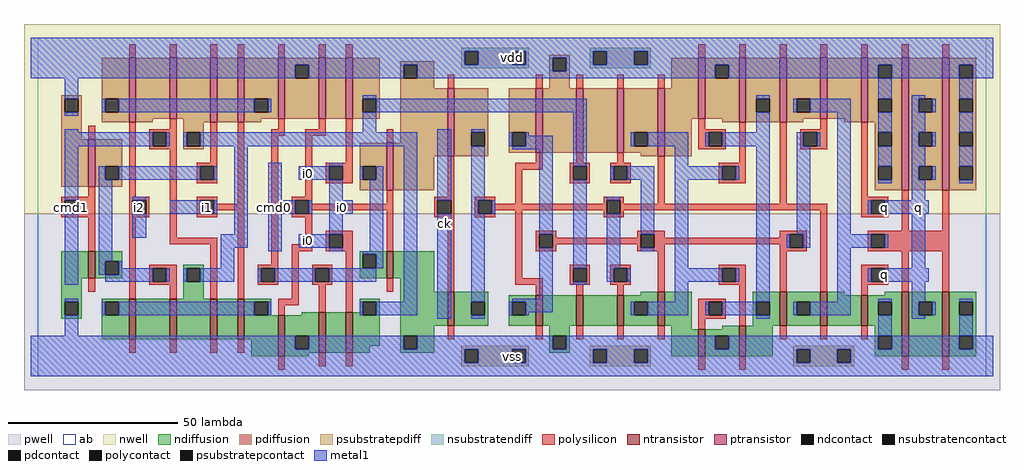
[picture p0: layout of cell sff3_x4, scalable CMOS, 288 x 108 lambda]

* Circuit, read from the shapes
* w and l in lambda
.subckt sff3_x4 ck cmd0 cmd1 i0 i1 i2 q vdd vss
M1 n1 cmd1 vss vss nfet w=8 l=2
M2 n2 i2 n3 vss nfet w=12 l=2
M3 n4 n1 n2 vss nfet w=12 l=2
M4 n5 cmd1 n4 vss nfet w=12 l=2
M5 n3 i1 n5 vss nfet w=12 l=2
M6 vss cmd0 n3 vss nfet w=12 l=2
M7 n6 n7 vss vss nfet w=12 l=2
M8 n4 i0 n6 vss nfet w=12 l=2
M9 vss cmd0 n7 vss nfet w=8 l=2
M10 n8 ck vss vss nfet w=10 l=2
M11 vss n8 n9 vss nfet w=9 l=2
M12 n10 n4 vss vss nfet w=9 l=2
M13 n11 n8 n10 vss nfet w=9 l=2
M14 n12 n9 n11 vss nfet w=10 l=2
M15 vss n13 n12 vss nfet w=8 l=2
M16 n13 n11 vss vss nfet w=9 l=2
M17 n14 n9 n13 vss nfet w=10 l=2
M18 n15 n8 n14 vss nfet w=10 l=2
M19 vss q n15 vss nfet w=9 l=2
M20 q n14 vss vss nfet w=19 l=2 m=2
M21 n1 cmd1 vdd vdd pfet w=14 l=2
M22 n16 i2 n17 vdd pfet w=19 l=2
M23 n4 cmd1 n16 vdd pfet w=18 l=2
M24 n18 n1 n4 vdd pfet w=19 l=2
M25 n17 i1 n18 vdd pfet w=19 l=2
M26 vdd n7 n17 vdd pfet w=18 l=2
M27 n19 cmd0 vdd vdd pfet w=18 l=2
M28 n4 i0 n19 vdd pfet w=18 l=2
M29 vdd cmd0 n7 vdd pfet w=14 l=2
M30 n8 ck vdd vdd pfet w=20 l=2
M31 vdd n8 n9 vdd pfet w=19 l=2
M32 n20 n4 vdd vdd pfet w=19 l=2
M33 n11 n9 n20 vdd pfet w=19 l=2
M34 n21 n8 n11 vdd pfet w=20 l=2
M35 vdd n13 n21 vdd pfet w=18 l=2
M36 n13 n11 vdd vdd pfet w=19 l=2
M37 n14 n8 n13 vdd pfet w=19 l=2
M38 n22 n9 n14 vdd pfet w=18 l=2
M39 vdd q n22 vdd pfet w=19 l=2
M40 q n14 vdd vdd pfet w=39 l=2 m=2
.ends

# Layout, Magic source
magic
tech scmos
<< ab >>
rect 0 0 280 100
<< pwell >>
rect -4 -4 284 48
<< nwell >>
rect -4 48 284 104
<< polysilicon >>
rect 27 94 29 98
rect 39 94 41 98
rect 51 94 53 98
rect 59 94 61 98
rect 71 94 73 98
rect 83 94 85 98
rect 91 94 93 98
rect 15 70 17 74
rect 15 53 17 56
rect 7 52 17 53
rect 7 48 8 52
rect 12 48 17 52
rect 7 47 17 48
rect 15 37 17 47
rect 27 53 29 75
rect 39 73 41 76
rect 33 72 41 73
rect 33 68 34 72
rect 38 68 41 72
rect 33 67 41 68
rect 195 94 197 98
rect 207 94 209 98
rect 219 94 221 98
rect 231 94 233 98
rect 243 94 245 98
rect 255 94 257 98
rect 267 94 269 98
rect 121 85 123 89
rect 147 85 149 89
rect 159 85 161 89
rect 171 85 173 89
rect 183 85 185 89
rect 27 52 33 53
rect 27 48 28 52
rect 32 48 33 52
rect 27 47 33 48
rect 15 25 17 29
rect 27 23 29 47
rect 39 41 41 67
rect 51 63 53 75
rect 47 62 53 63
rect 47 58 48 62
rect 52 58 53 62
rect 47 57 53 58
rect 47 52 53 53
rect 47 48 48 52
rect 52 51 53 52
rect 59 51 61 75
rect 71 73 73 76
rect 83 73 85 76
rect 52 49 61 51
rect 52 48 53 49
rect 47 47 53 48
rect 39 39 53 41
rect 33 32 41 33
rect 33 28 34 32
rect 38 28 41 32
rect 33 27 41 28
rect 39 23 41 27
rect 51 23 53 39
rect 59 23 61 49
rect 69 71 73 73
rect 79 71 85 73
rect 69 33 71 71
rect 79 53 81 71
rect 91 63 93 76
rect 103 69 105 73
rect 85 62 93 63
rect 85 58 86 62
rect 90 58 93 62
rect 85 57 93 58
rect 75 52 81 53
rect 75 48 76 52
rect 80 51 81 52
rect 103 51 105 55
rect 121 53 123 65
rect 147 63 149 66
rect 159 63 161 66
rect 171 63 173 66
rect 195 73 197 76
rect 195 72 203 73
rect 195 68 198 72
rect 202 68 203 72
rect 195 67 203 68
rect 141 61 149 63
rect 157 62 163 63
rect 80 49 105 51
rect 80 48 81 49
rect 75 47 81 48
rect 79 39 81 47
rect 65 32 71 33
rect 65 28 66 32
rect 70 28 71 32
rect 65 27 71 28
rect 75 37 81 39
rect 85 42 93 43
rect 85 38 86 42
rect 90 38 93 42
rect 85 37 93 38
rect 103 37 105 49
rect 117 52 123 53
rect 117 48 118 52
rect 122 48 123 52
rect 117 47 123 48
rect 129 52 135 53
rect 129 48 130 52
rect 134 51 135 52
rect 141 51 143 61
rect 157 58 158 62
rect 162 58 163 62
rect 157 57 163 58
rect 169 62 175 63
rect 169 58 170 62
rect 174 58 175 62
rect 169 57 175 58
rect 167 52 173 53
rect 167 51 168 52
rect 134 49 168 51
rect 134 48 135 49
rect 129 47 135 48
rect 75 23 77 37
rect 81 32 87 33
rect 81 28 82 32
rect 86 28 87 32
rect 81 27 87 28
rect 71 21 77 23
rect 71 18 73 21
rect 83 19 85 27
rect 91 19 93 37
rect 103 25 105 29
rect 121 25 123 47
rect 141 29 143 49
rect 167 48 168 49
rect 172 51 173 52
rect 183 51 185 65
rect 207 63 209 75
rect 201 62 209 63
rect 201 58 202 62
rect 206 58 209 62
rect 201 57 209 58
rect 219 51 221 75
rect 231 73 233 76
rect 225 72 233 73
rect 225 68 226 72
rect 230 68 233 72
rect 225 67 233 68
rect 243 53 245 75
rect 243 52 251 53
rect 172 49 233 51
rect 172 48 173 49
rect 167 47 173 48
rect 147 42 153 43
rect 147 38 148 42
rect 152 41 153 42
rect 177 42 185 43
rect 177 41 178 42
rect 152 39 178 41
rect 152 38 153 39
rect 147 37 153 38
rect 177 38 178 39
rect 182 41 185 42
rect 219 42 227 43
rect 219 41 222 42
rect 182 39 222 41
rect 182 38 185 39
rect 177 37 185 38
rect 157 32 163 33
rect 141 27 149 29
rect 157 28 158 32
rect 162 28 163 32
rect 157 27 163 28
rect 169 32 175 33
rect 169 28 170 32
rect 174 28 175 32
rect 169 27 175 28
rect 27 7 29 11
rect 39 7 41 11
rect 51 7 53 11
rect 59 7 61 11
rect 147 24 149 27
rect 159 24 161 27
rect 171 24 173 27
rect 183 25 185 37
rect 219 38 222 39
rect 226 38 227 42
rect 219 37 227 38
rect 201 32 209 33
rect 201 28 202 32
rect 206 28 209 32
rect 201 27 209 28
rect 121 11 123 15
rect 147 11 149 15
rect 71 2 73 6
rect 83 3 85 7
rect 91 3 93 7
rect 159 11 161 15
rect 171 11 173 15
rect 183 11 185 15
rect 195 22 203 23
rect 195 18 198 22
rect 202 18 203 22
rect 195 17 203 18
rect 195 14 197 17
rect 207 15 209 27
rect 219 25 221 37
rect 231 25 233 49
rect 243 48 246 52
rect 250 48 251 52
rect 243 47 251 48
rect 255 43 257 55
rect 267 43 269 55
rect 245 42 269 43
rect 245 38 246 42
rect 250 38 269 42
rect 245 37 269 38
rect 243 32 251 33
rect 243 28 246 32
rect 250 28 251 32
rect 243 27 251 28
rect 243 24 245 27
rect 255 25 257 37
rect 267 25 269 37
rect 219 11 221 15
rect 231 11 233 15
rect 243 11 245 15
rect 195 2 197 6
rect 207 2 209 6
rect 255 2 257 6
rect 267 2 269 6
<< ndiffusion >>
rect 7 29 15 37
rect 17 34 25 37
rect 17 30 20 34
rect 24 30 25 34
rect 17 29 25 30
rect 7 22 13 29
rect 43 32 49 33
rect 43 28 44 32
rect 48 28 49 32
rect 43 23 49 28
rect 7 18 8 22
rect 12 18 13 22
rect 7 17 13 18
rect 19 22 27 23
rect 19 18 20 22
rect 24 18 27 22
rect 19 11 27 18
rect 29 11 39 23
rect 41 11 51 23
rect 53 11 59 23
rect 61 22 69 23
rect 61 18 64 22
rect 68 18 69 22
rect 95 36 103 37
rect 95 32 96 36
rect 100 32 103 36
rect 95 29 103 32
rect 105 29 117 37
rect 107 25 117 29
rect 95 22 101 23
rect 95 19 96 22
rect 78 18 83 19
rect 61 11 71 18
rect 63 6 71 11
rect 73 12 83 18
rect 73 8 76 12
rect 80 8 83 12
rect 73 7 83 8
rect 85 7 91 19
rect 93 18 96 19
rect 100 18 101 22
rect 93 9 101 18
rect 107 15 121 25
rect 123 22 133 25
rect 178 24 183 25
rect 123 18 128 22
rect 132 18 133 22
rect 123 15 133 18
rect 139 22 147 24
rect 139 18 140 22
rect 144 18 147 22
rect 139 15 147 18
rect 149 15 159 24
rect 161 15 171 24
rect 173 22 183 24
rect 173 18 176 22
rect 180 18 183 22
rect 173 15 183 18
rect 185 15 193 25
rect 107 12 117 15
rect 93 7 98 9
rect 107 8 108 12
rect 112 8 117 12
rect 151 12 157 15
rect 107 7 117 8
rect 73 6 80 7
rect 151 8 152 12
rect 156 8 157 12
rect 187 14 193 15
rect 211 22 219 25
rect 211 18 212 22
rect 216 18 219 22
rect 211 15 219 18
rect 221 22 231 25
rect 221 18 224 22
rect 228 18 231 22
rect 221 15 231 18
rect 233 24 238 25
rect 250 24 255 25
rect 233 15 243 24
rect 245 22 255 24
rect 245 18 248 22
rect 252 18 255 22
rect 245 15 255 18
rect 202 14 207 15
rect 151 7 157 8
rect 187 6 195 14
rect 197 12 207 14
rect 197 8 200 12
rect 204 8 207 12
rect 197 6 207 8
rect 209 6 217 15
rect 247 12 255 15
rect 247 8 248 12
rect 252 8 255 12
rect 247 6 255 8
rect 257 22 267 25
rect 257 18 260 22
rect 264 18 267 22
rect 257 6 267 18
rect 269 22 277 25
rect 269 18 272 22
rect 276 18 277 22
rect 269 12 277 18
rect 269 8 272 12
rect 276 8 277 12
rect 269 6 277 8
<< pdiffusion >>
rect 7 82 13 83
rect 7 78 8 82
rect 12 78 13 82
rect 7 70 13 78
rect 19 82 27 94
rect 19 78 20 82
rect 24 78 27 82
rect 19 75 27 78
rect 29 76 39 94
rect 41 76 51 94
rect 29 75 34 76
rect 7 56 15 70
rect 17 62 25 70
rect 17 58 20 62
rect 24 58 25 62
rect 17 56 25 58
rect 43 75 51 76
rect 53 75 59 94
rect 61 82 71 94
rect 61 78 64 82
rect 68 78 71 82
rect 61 76 71 78
rect 73 92 83 94
rect 73 88 76 92
rect 80 88 83 92
rect 73 76 83 88
rect 85 76 91 94
rect 93 82 101 94
rect 93 78 96 82
rect 100 78 101 82
rect 93 76 101 78
rect 107 92 117 93
rect 107 88 108 92
rect 112 88 117 92
rect 151 94 157 95
rect 151 90 152 94
rect 156 90 157 94
rect 107 85 117 88
rect 151 85 157 90
rect 187 85 195 94
rect 61 75 66 76
rect 43 72 49 75
rect 43 68 44 72
rect 48 68 49 72
rect 43 67 49 68
rect 107 69 121 85
rect 95 62 103 69
rect 95 58 96 62
rect 100 58 103 62
rect 95 55 103 58
rect 105 65 121 69
rect 123 72 133 85
rect 123 68 128 72
rect 132 68 133 72
rect 123 65 133 68
rect 139 72 147 85
rect 139 68 140 72
rect 144 68 147 72
rect 139 66 147 68
rect 149 66 159 85
rect 161 66 171 85
rect 173 72 183 85
rect 173 68 176 72
rect 180 68 183 72
rect 173 66 183 68
rect 105 55 117 65
rect 178 65 183 66
rect 185 76 195 85
rect 197 92 207 94
rect 197 88 200 92
rect 204 88 207 92
rect 197 76 207 88
rect 185 65 193 76
rect 202 75 207 76
rect 209 82 219 94
rect 209 78 212 82
rect 216 78 219 82
rect 209 75 219 78
rect 221 82 231 94
rect 221 78 224 82
rect 228 78 231 82
rect 221 76 231 78
rect 233 76 243 94
rect 221 75 226 76
rect 238 75 243 76
rect 245 92 255 94
rect 245 88 248 92
rect 252 88 255 92
rect 245 82 255 88
rect 245 78 248 82
rect 252 78 255 82
rect 245 75 255 78
rect 247 72 255 75
rect 247 68 248 72
rect 252 68 255 72
rect 247 62 255 68
rect 247 58 248 62
rect 252 58 255 62
rect 247 55 255 58
rect 257 82 267 94
rect 257 78 260 82
rect 264 78 267 82
rect 257 72 267 78
rect 257 68 260 72
rect 264 68 267 72
rect 257 62 267 68
rect 257 58 260 62
rect 264 58 267 62
rect 257 55 267 58
rect 269 92 277 94
rect 269 88 272 92
rect 276 88 277 92
rect 269 82 277 88
rect 269 78 272 82
rect 276 78 277 82
rect 269 72 277 78
rect 269 68 272 72
rect 276 68 277 72
rect 269 62 277 68
rect 269 58 272 62
rect 276 58 277 62
rect 269 55 277 58
<< metal1 >>
rect -2 96 282 100
rect -2 92 126 96
rect 130 92 140 96
rect 144 94 164 96
rect 144 92 152 94
rect -2 88 76 92
rect 80 88 108 92
rect 112 90 152 92
rect 156 92 164 94
rect 168 92 176 96
rect 180 92 282 96
rect 156 90 200 92
rect 112 88 200 90
rect 204 88 248 92
rect 252 88 272 92
rect 276 88 282 92
rect 8 82 12 88
rect 96 82 100 83
rect 212 82 216 83
rect 248 82 252 88
rect 19 78 20 82
rect 24 78 64 82
rect 68 78 69 82
rect 100 78 162 82
rect 8 77 12 78
rect 8 72 12 73
rect 96 72 100 78
rect 8 68 34 72
rect 38 68 39 72
rect 43 68 44 72
rect 48 68 112 72
rect 8 52 12 68
rect 8 27 12 48
rect 18 58 20 62
rect 24 58 48 62
rect 52 58 53 62
rect 18 34 22 58
rect 28 52 32 53
rect 39 48 48 52
rect 52 48 53 52
rect 28 41 32 48
rect 58 42 62 68
rect 54 38 62 42
rect 68 52 72 63
rect 86 62 90 63
rect 77 58 86 62
rect 95 58 96 62
rect 100 58 102 62
rect 86 52 90 58
rect 68 48 76 52
rect 80 48 81 52
rect 86 48 93 52
rect 18 30 20 34
rect 24 32 25 34
rect 54 32 58 38
rect 68 37 72 48
rect 86 42 90 48
rect 77 38 86 42
rect 86 37 90 38
rect 98 37 102 58
rect 96 36 102 37
rect 100 32 102 36
rect 24 30 34 32
rect 20 28 34 30
rect 38 28 39 32
rect 43 28 44 32
rect 48 28 58 32
rect 65 28 66 32
rect 70 28 82 32
rect 86 28 100 32
rect 8 22 12 23
rect 108 22 112 68
rect 19 18 20 22
rect 24 18 64 22
rect 68 18 69 22
rect 95 18 96 22
rect 100 18 112 22
rect 118 52 122 73
rect 8 12 12 18
rect 118 17 122 48
rect 128 72 132 73
rect 139 68 140 72
rect 144 71 145 72
rect 144 68 152 71
rect 128 52 132 68
rect 140 67 152 68
rect 128 48 130 52
rect 134 48 135 52
rect 128 22 132 48
rect 148 42 152 67
rect 148 23 152 38
rect 158 62 162 78
rect 223 78 224 82
rect 228 78 240 82
rect 212 72 216 78
rect 175 68 176 72
rect 180 68 192 72
rect 197 68 198 72
rect 202 68 216 72
rect 188 62 192 68
rect 169 58 170 62
rect 174 58 182 62
rect 158 32 162 58
rect 168 52 172 53
rect 168 32 172 48
rect 178 42 182 58
rect 178 37 182 38
rect 188 58 202 62
rect 206 58 207 62
rect 188 32 192 58
rect 168 28 170 32
rect 174 28 175 32
rect 188 28 202 32
rect 206 28 207 32
rect 158 27 162 28
rect 140 22 152 23
rect 188 22 192 28
rect 212 22 216 68
rect 224 68 226 72
rect 230 68 231 72
rect 224 42 228 68
rect 221 38 222 42
rect 226 38 228 42
rect 236 42 240 78
rect 248 72 252 78
rect 248 62 252 68
rect 248 57 252 58
rect 258 82 262 83
rect 272 82 276 88
rect 258 78 260 82
rect 264 78 265 82
rect 258 72 262 78
rect 272 72 276 78
rect 258 68 260 72
rect 264 68 265 72
rect 258 62 262 68
rect 272 62 276 68
rect 258 58 260 62
rect 264 58 265 62
rect 258 52 262 58
rect 272 57 276 58
rect 245 48 246 52
rect 250 48 263 52
rect 236 38 246 42
rect 250 38 251 42
rect 236 22 240 38
rect 258 32 262 48
rect 245 28 246 32
rect 250 28 263 32
rect 139 18 140 22
rect 144 19 152 22
rect 144 18 145 19
rect 175 18 176 22
rect 180 18 192 22
rect 197 18 198 22
rect 202 18 212 22
rect 223 18 224 22
rect 228 18 240 22
rect 248 22 252 23
rect 128 17 132 18
rect 212 17 216 18
rect 248 12 252 18
rect 258 22 262 28
rect 272 22 276 23
rect 258 18 260 22
rect 264 18 265 22
rect 258 17 262 18
rect 272 12 276 18
rect -2 8 76 12
rect 80 8 108 12
rect 112 8 152 12
rect 156 8 200 12
rect 204 8 248 12
rect 252 8 272 12
rect 276 8 282 12
rect -2 4 126 8
rect 130 4 140 8
rect 144 4 164 8
rect 168 4 176 8
rect 180 4 224 8
rect 228 4 236 8
rect 240 4 282 8
rect -2 0 282 4
<< ntransistor >>
rect 15 29 17 37
rect 27 11 29 23
rect 39 11 41 23
rect 51 11 53 23
rect 59 11 61 23
rect 103 29 105 37
rect 71 6 73 18
rect 83 7 85 19
rect 91 7 93 19
rect 121 15 123 25
rect 147 15 149 24
rect 159 15 161 24
rect 171 15 173 24
rect 183 15 185 25
rect 219 15 221 25
rect 231 15 233 25
rect 243 15 245 24
rect 195 6 197 14
rect 207 6 209 15
rect 255 6 257 25
rect 267 6 269 25
<< ptransistor >>
rect 27 75 29 94
rect 39 76 41 94
rect 15 56 17 70
rect 51 75 53 94
rect 59 75 61 94
rect 71 76 73 94
rect 83 76 85 94
rect 91 76 93 94
rect 103 55 105 69
rect 121 65 123 85
rect 147 66 149 85
rect 159 66 161 85
rect 171 66 173 85
rect 183 65 185 85
rect 195 76 197 94
rect 207 75 209 94
rect 219 75 221 94
rect 231 76 233 94
rect 243 75 245 94
rect 255 55 257 94
rect 267 55 269 94
<< polycontact >>
rect 8 48 12 52
rect 34 68 38 72
rect 28 48 32 52
rect 48 58 52 62
rect 48 48 52 52
rect 34 28 38 32
rect 86 58 90 62
rect 76 48 80 52
rect 198 68 202 72
rect 66 28 70 32
rect 86 38 90 42
rect 118 48 122 52
rect 130 48 134 52
rect 158 58 162 62
rect 170 58 174 62
rect 82 28 86 32
rect 168 48 172 52
rect 202 58 206 62
rect 226 68 230 72
rect 148 38 152 42
rect 178 38 182 42
rect 158 28 162 32
rect 170 28 174 32
rect 222 38 226 42
rect 202 28 206 32
rect 198 18 202 22
rect 246 48 250 52
rect 246 38 250 42
rect 246 28 250 32
<< ndcontact >>
rect 20 30 24 34
rect 44 28 48 32
rect 8 18 12 22
rect 20 18 24 22
rect 64 18 68 22
rect 96 32 100 36
rect 76 8 80 12
rect 96 18 100 22
rect 128 18 132 22
rect 140 18 144 22
rect 176 18 180 22
rect 108 8 112 12
rect 152 8 156 12
rect 212 18 216 22
rect 224 18 228 22
rect 248 18 252 22
rect 200 8 204 12
rect 248 8 252 12
rect 260 18 264 22
rect 272 18 276 22
rect 272 8 276 12
<< pdcontact >>
rect 8 78 12 82
rect 20 78 24 82
rect 20 58 24 62
rect 64 78 68 82
rect 76 88 80 92
rect 96 78 100 82
rect 108 88 112 92
rect 152 90 156 94
rect 44 68 48 72
rect 96 58 100 62
rect 128 68 132 72
rect 140 68 144 72
rect 176 68 180 72
rect 200 88 204 92
rect 212 78 216 82
rect 224 78 228 82
rect 248 88 252 92
rect 248 78 252 82
rect 248 68 252 72
rect 248 58 252 62
rect 260 78 264 82
rect 260 68 264 72
rect 260 58 264 62
rect 272 88 276 92
rect 272 78 276 82
rect 272 68 276 72
rect 272 58 276 62
<< psubstratepcontact >>
rect 126 4 130 8
rect 140 4 144 8
rect 164 4 168 8
rect 176 4 180 8
rect 224 4 228 8
rect 236 4 240 8
<< nsubstratencontact >>
rect 126 92 130 96
rect 140 92 144 96
rect 164 92 168 96
rect 176 92 180 96
<< psubstratepdiff >>
rect 125 8 145 9
rect 125 4 126 8
rect 130 4 140 8
rect 144 4 145 8
rect 163 8 181 9
rect 125 3 145 4
rect 163 4 164 8
rect 168 4 176 8
rect 180 4 181 8
rect 223 8 241 9
rect 163 3 181 4
rect 223 4 224 8
rect 228 4 236 8
rect 240 4 241 8
rect 223 3 241 4
<< nsubstratendiff >>
rect 125 96 145 97
rect 125 92 126 96
rect 130 92 140 96
rect 144 92 145 96
rect 163 96 181 97
rect 125 91 145 92
rect 163 92 164 96
rect 168 92 176 96
rect 180 92 181 96
rect 163 91 181 92
<< labels >>
rlabel polycontact 30 50 30 50 6 i2
rlabel polycontact 10 50 10 50 6 cmd1
rlabel metal1 80 40 80 40 6 i0
rlabel polycontact 50 50 50 50 6 i1
rlabel metal1 70 50 70 50 6 cmd0
rlabel metal1 80 60 80 60 6 i0
rlabel metal1 120 45 120 45 6 ck
rlabel metal1 90 50 90 50 6 i0
rlabel metal1 140 6 140 6 6 vss
rlabel metal1 140 94 140 94 6 vdd
rlabel metal1 250 30 250 30 6 q
rlabel metal1 250 50 250 50 6 q
rlabel metal1 260 50 260 50 6 q
<< end >>
